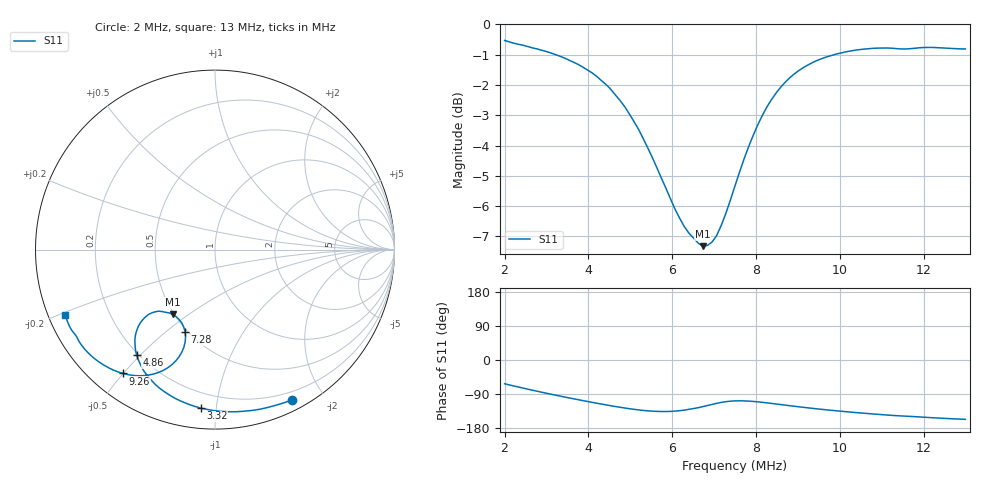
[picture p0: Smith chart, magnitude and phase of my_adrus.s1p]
# Hz S RI R 50
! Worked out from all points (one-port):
!   101 points, 2 MHz to 13 MHz, reference 50 ohm
!   lowest |S11| = -7.3 dB at 6.73 MHz (marker M1), VSWR 2.51, Z = 24.6 - j21.8 ohm
!   |S11| at or under -10 dB: nowhere
!   S11 on the Smith chart (normalised r, x): 2 MHz: 0.11, -1.64; 3.32 MHz: 0.11, -0.91; 4.86 MHz: 0.19, -0.49; 7.28 MHz: 0.49, -0.58; 9.26 MHz: 0.10, -0.50; 13 MHz: 0.05, -0.21
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2000000  0.4314 -0.8364
2330000  0.297 -0.8787
2660000  0.1651 -0.9
2990000  0.0392 -0.9018
3320000  -0.0792 -0.8829
3430000  -0.1165 -0.8726
3760000  -0.2194 -0.8303
4200000  -0.3348 -0.7494
4530000  -0.3985 -0.6731
4750000  -0.4257 -0.6172
4860000  -0.4368 -0.5886
5190000  -0.4465 -0.5032
5410000  -0.436 -0.4506
5850000  -0.3856 -0.3732
6180000  -0.3308 -0.3458
6730000  -0.2353 -0.3604
7060000  -0.1852 -0.4077
7280000  -0.1669 -0.4578
7500000  -0.1664 -0.5153
7830000  -0.2002 -0.5969
8270000  -0.2885 -0.6732
8600000  -0.3671 -0.6986
8930000  -0.4428 -0.7022
9260000  -0.5109 -0.6902
1.025e7  -0.6652 -0.6121
1.091e7  -0.7337 -0.5451
1.168e7  -0.7803 -0.4723
1.3e7  -0.8362 -0.3624
